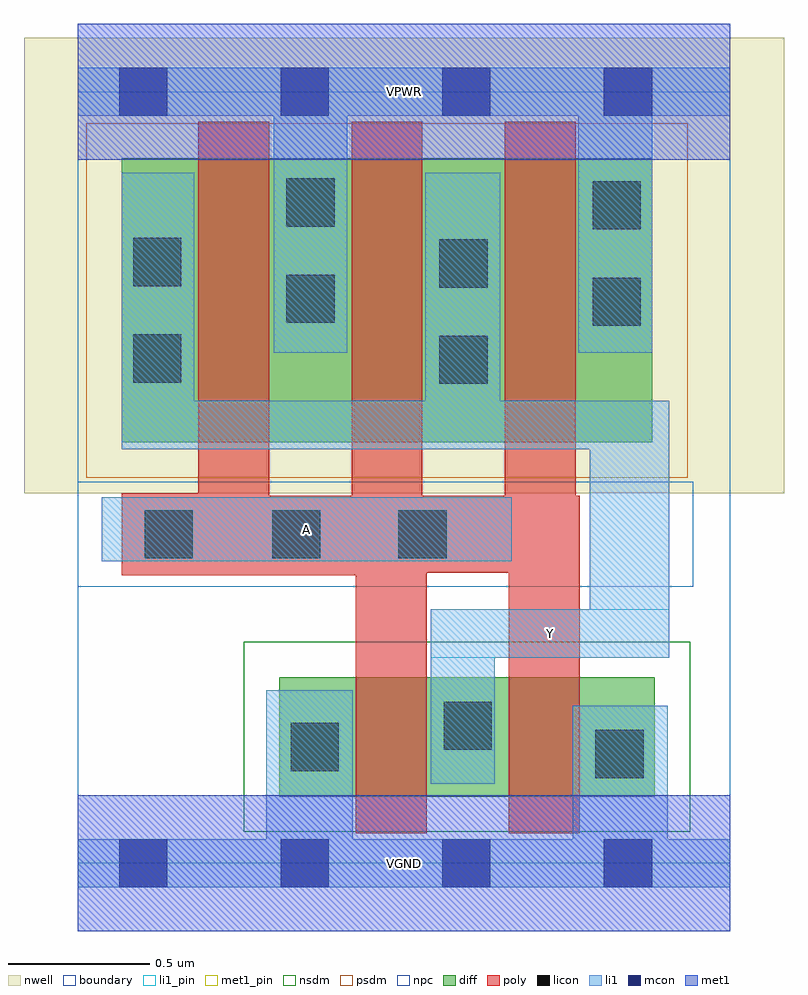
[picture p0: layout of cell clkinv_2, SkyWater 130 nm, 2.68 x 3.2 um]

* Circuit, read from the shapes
.subckt clkinv_2 A VGND VPWR Y
XM1 Y A VGND VSUBS sky130_fd_pr__nfet_01v8 w=0.42 l=0.25 m=2
XM2 VPWR A Y n1 sky130_fd_pr__pfet_01v8 w=1 l=0.25 m=3
.ends

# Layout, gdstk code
import gdstk
lib = gdstk.Library(unit=1e-6, precision=1e-09)
def R(c, l, rs):  # rectangles x0, y0, x1, y1
    for r in rs: c.add(gdstk.rectangle(r[:2], r[2:], *l))
def A(c, l, x, y, w, h, nx, ny, dx, dy):  # array of equal rectangles
    R(c, l, [(x+i*dx, y+j*dy, x+i*dx+w, y+j*dy+h) for i in range(nx) for j in range(ny)])
nwell = (64, 20)
diff = (65, 20)
poly = (66, 20)
licon = (66, 44)
li1_pin = (67, 16)
li1 = (67, 20)
mcon = (67, 44)
met1_pin = (68, 16)
met1 = (68, 20)
nsdm = (93, 44)
psdm = (94, 20)
npc = (95, 20)
boundary = (235, 4)

clkinv_2 = lib.new_cell('clkinv_2')
R(clkinv_2, nwell, [(-0.19,1.305,2.49,2.91), (0,1.305,2.3,2.91)])
R(clkinv_2, diff, [(0.71,0.235,2.035,0.655), (0.155,1.485,2.025,2.485)])
R(clkinv_2, poly, [(0.98,0.105,1.23,1.295), (1.52,0.105,1.77,1.295), (0.155,1.015,1.23,1.295), (0.155,1.015,0.675,1.305), (0.425,1.015,0.675,2.615), (0.965,1.015,1.215,2.615), (0.155,1.025,1.77,1.295), (1.505,1.025,1.755,2.615)])
R(clkinv_2, licon, [(1.825,0.3,1.995,0.47), (0.75,0.325,0.92,0.495), (1.29,0.4,1.46,0.57), (0.235,1.075,0.405,1.245), (0.685,1.075,0.855,1.245), (1.13,1.075,1.3,1.245), (1.275,1.69,1.445,1.86), (0.195,1.695,0.365,1.865), (1.815,1.895,1.985,2.065), (0.735,1.905,0.905,2.075), (1.275,2.03,1.445,2.2), (0.195,2.035,0.365,2.205), (1.815,2.235,1.985,2.405), (0.735,2.245,0.905,2.415)])
R(clkinv_2, li1_pin, [(1.245,0.725,2.085,0.895), (0.085,1.065,1.53,1.29)])
R(clkinv_2, li1, [(0,-0.085,2.3,0.085), (0.665,-0.085,0.97,0.61), (1.745,-0.085,2.08,0.555), (1.245,0.28,1.47,0.895), (1.245,0.725,2.085,0.895), (1.805,0.725,2.085,1.63), (0.085,1.065,1.53,1.29), (0.155,1.46,2.085,1.63), (0.155,1.46,0.41,2.435), (1.225,1.46,1.49,2.435), (0.69,1.8,0.95,2.805), (1.765,1.8,2.025,2.805), (0,2.635,2.3,2.805)])
A(clkinv_2, mcon, 0.145, -0.085, 0.17, 0.17, 4, 2, 0.57, 2.72)
R(clkinv_2, met1_pin, [(0,-0.24,2.3,0.24), (0,2.48,2.3,2.96)])
R(clkinv_2, met1, [(0,-0.24,2.3,0.24), (0,2.48,2.3,2.96)])
R(clkinv_2, nsdm, [(0.585,0.11,2.16,0.78)])
R(clkinv_2, psdm, [(0.03,1.36,2.15,2.61)])
R(clkinv_2, npc, [(0,0.975,2.17,1.345)])
R(clkinv_2, boundary, [(0,0,2.3,2.72)])
clkinv_2.add(gdstk.Label('A', (0.807,1.177), layer=67, texttype=5))
clkinv_2.add(gdstk.Label('Y', (1.665,0.81), layer=67, texttype=5))
clkinv_2.add(gdstk.Label('VPWR', (1.15,2.72), layer=68, texttype=5))
clkinv_2.add(gdstk.Label('VGND', (1.15,0), layer=68, texttype=5))
clkinv_2.add(gdstk.Label('A', (0.807,1.177), layer=67, texttype=16))
clkinv_2.add(gdstk.Label('Y', (1.665,0.81), layer=67, texttype=16))
clkinv_2.add(gdstk.Label('VPWR', (1.15,2.72), layer=68, texttype=16))
clkinv_2.add(gdstk.Label('VGND', (1.15,0), layer=68, texttype=16))

lib.write_gds('clkinv_2.gds')
